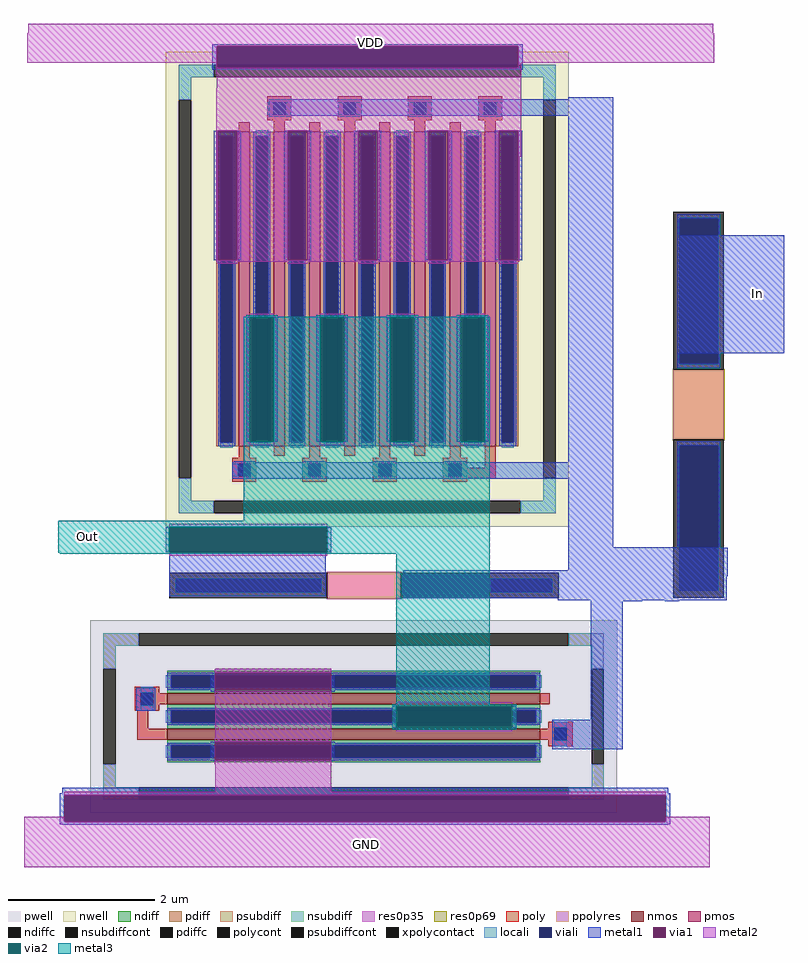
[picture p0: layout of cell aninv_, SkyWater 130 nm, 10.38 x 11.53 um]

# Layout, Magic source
magic
tech sky130A
magscale 1 2
<< poly >>
rect 1196 371 1226 429
rect 1143 367 1226 371
rect 1127 341 1226 367
rect 247 -342 277 -281
rect 247 -372 318 -342
<< viali >>
rect 464 1464 1288 1522
rect 47 -597 1691 -525
<< metal1 >>
rect 452 1522 1300 1528
rect 452 1464 464 1522
rect 1288 1464 1300 1522
rect 452 1458 1300 1464
rect 1425 1378 1548 1383
rect 606 1332 1548 1378
rect 456 938 466 1292
rect 520 938 530 1292
rect 648 938 658 1292
rect 712 938 722 1292
rect 840 938 850 1292
rect 904 938 914 1292
rect 1032 938 1042 1292
rect 1096 938 1106 1292
rect 1224 938 1234 1292
rect 1288 938 1298 1292
rect 544 442 554 782
rect 620 442 630 782
rect 736 442 746 782
rect 812 442 822 782
rect 928 442 938 782
rect 1004 442 1014 782
rect 1120 442 1130 782
rect 1196 442 1206 782
rect 1425 386 1548 1332
rect 1722 684 2014 1006
rect 506 340 1548 386
rect 324 140 334 208
rect 766 140 776 208
rect 1425 153 1548 340
rect 1425 152 1820 153
rect 334 20 762 140
rect 1425 90 1860 152
rect 974 74 1860 90
rect 974 14 1858 74
rect 1396 8 1858 14
rect 1486 6 1626 8
rect 1688 6 1728 8
rect 244 -294 296 -230
rect 448 -242 458 -190
rect 776 -242 786 -190
rect 944 -340 954 -280
rect 1272 -340 1282 -280
rect 1486 -318 1574 6
rect 448 -430 458 -378
rect 776 -430 786 -378
rect 1380 -398 1574 -318
rect 41 -519 1697 -504
rect 35 -525 1703 -519
rect 35 -597 47 -525
rect 1691 -597 1703 -525
rect 35 -603 1703 -597
rect 41 -605 1697 -603
<< via1 >>
rect 464 1464 1288 1522
rect 466 938 520 1292
rect 658 938 712 1292
rect 850 938 904 1292
rect 1042 938 1096 1292
rect 1234 938 1288 1292
rect 554 442 620 782
rect 746 442 812 782
rect 938 442 1004 782
rect 1130 442 1196 782
rect 334 140 766 208
rect 458 -242 776 -190
rect 954 -340 1272 -280
rect 458 -430 776 -378
rect 47 -597 1691 -525
<< metal2 >>
rect -52 1558 1820 1584
rect -54 1522 1824 1558
rect -54 1478 464 1522
rect 462 1464 464 1478
rect 1288 1478 1824 1522
rect 1288 1464 1296 1478
rect 462 1446 1296 1464
rect 464 1408 1296 1446
rect 462 1292 1296 1408
rect 462 938 466 1292
rect 520 938 658 1292
rect 712 938 850 1292
rect 904 938 1042 1292
rect 1096 938 1234 1292
rect 1288 1220 1296 1292
rect 1288 938 1290 1220
rect 462 934 1290 938
rect 466 928 520 934
rect 658 928 712 934
rect 850 928 904 934
rect 1042 928 1096 934
rect 1234 928 1288 934
rect 554 782 620 792
rect 554 432 620 442
rect 746 782 812 792
rect 746 432 812 442
rect 938 782 1004 792
rect 938 432 1004 442
rect 1130 782 1196 792
rect 1130 432 1196 442
rect 334 208 766 218
rect 334 130 766 140
rect 460 -180 776 -178
rect 458 -190 776 -180
rect 458 -252 776 -242
rect 460 -368 776 -252
rect 954 -280 1272 -270
rect 954 -350 1272 -340
rect 458 -378 776 -368
rect 458 -440 776 -430
rect 460 -515 776 -440
rect 47 -525 1691 -515
rect -63 -597 47 -583
rect 1691 -597 1811 -583
rect -63 -721 1811 -597
<< via2 >>
rect 554 442 620 782
rect 746 442 812 782
rect 938 442 1004 782
rect 1130 442 1196 782
rect 334 140 766 208
rect 954 -340 1272 -280
<< metal3 >>
rect 544 784 630 787
rect 736 784 822 787
rect 928 784 1014 787
rect 1120 784 1206 787
rect 538 782 1210 784
rect 538 442 554 782
rect 620 442 746 782
rect 812 442 938 782
rect 1004 442 1130 782
rect 1196 442 1210 782
rect 538 226 1210 442
rect 30 208 1210 226
rect 30 140 334 208
rect 766 140 1210 208
rect 30 138 1210 140
rect 35 136 1210 138
rect 324 135 776 136
rect 954 -275 1210 136
rect 944 -280 1282 -275
rect 944 -340 954 -280
rect 1272 -340 1282 -280
rect 944 -345 1282 -340
rect 954 -346 1210 -345
use sky130_fd_pr__res_high_po_0p69_7JPRER  sky130_fd_pr__res_high_po_0p69_7JPRER_0
transform 1 0 1781 0 1 543
box -71 -527 71 527
use sky130_fd_pr__pfet_01v8_396TWK  sky130_fd_pr__pfet_01v8_396TWK_0
transform 1 0 875 0 1 859
box -551 -649 551 649
use sky130_fd_pr__nfet_01v8_XG2GE7  sky130_fd_pr__nfet_01v8_XG2GE7_0
transform 0 1 838 -1 0 -309
box -263 -720 263 720
use sky130_fd_pr__res_high_po_0p35_4HD3S6  sky130_fd_pr__res_high_po_0p35_4HD3S6_0
transform 0 1 866 -1 0 49
box -37 -532 37 532
<< labels >>
rlabel metal2 -63 -721 1811 -597 1 GND
port 2 n
rlabel metal3 38 142 182 222 1 Out
port 6 n
rlabel metal2 -52 1480 1818 1584 1 VDD
port 1 n
rlabel metal1 1872 692 2010 1002 1 In
port 5 n
<< end >>

# cell sky130_fd_pr__res_high_po_0p69_7JPRER: kit device sky130_fd_pr__res_high_po_0p69, w 0.690 l 0.95 m 1 nx 1 wmin 0.690 lmin 0.50 rho 319.8 val 495.921 dummy 0 dw 0.0 term 19.188 sterm 0.0 caplen 0 guard 0 glc 0 grc 0 gtc 0 gbc 0 compatible {sky130_fd_pr__res_high_po_0p35 sky130_fd_pr__res_high_po_0p69 sky130_fd_pr__res_high_po_1p41 sky130_fd_pr__res_high_po_2p85 sky130_fd_pr__res_high_po_5p73} full_metal 0 wmax 0.690 vias 1 viagb 0 viagt 0 viagl 0 viagr 0

# cell sky130_fd_pr__pfet_01v8_396TWK: kit device sky130_fd_pr__pfet_01v8, w 4.3 l 0.15 m 1 nf 8 diffcov 100 polycov 100 guard 1 glc 1 grc 1 gtc 1 gbc 1 tbcov 100 rlcov 100 topc 1 botc 1 poverlap 0 doverlap 1 lmin 0.15 wmin 0.42 compatible {sky130_fd_pr__pfet_01v8 sky130_fd_pr__pfet_01v8_lvt sky130_fd_pr__pfet_01v8_hvt sky130_fd_pr__pfet_g5v0d10v5} full_metal 1 viagl 0 viagr 0 viagt 0 viagb 0 viagate 100 viadrn 100 viasrc 100

# cell sky130_fd_pr__nfet_01v8_XG2GE7: kit device sky130_fd_pr__nfet_01v8, w 5.1 l 0.150 m 1 nf 2 diffcov 100 polycov 100 guard 1 glc 1 grc 1 gtc 1 gbc 1 tbcov 100 rlcov 100 topc 1 botc 1 poverlap 0 doverlap 1 lmin 0.15 wmin 0.42 compatible {sky130_fd_pr__nfet_01v8 sky130_fd_pr__nfet_01v8_lvt sky130_fd_bs_flash__special_sonosfet_star sky130_fd_pr__nfet_g5v0d10v5 sky130_fd_pr__nfet_05v0_nvt} full_metal 1 viasrc 100 viadrn 100 viagate 100 viagb 0 viagr 0 viagl 0 viagt 0

# cell sky130_fd_pr__res_high_po_0p35_4HD3S6: kit device sky130_fd_pr__res_high_po_0p35, w 0.350 l 1 m 1 nx 1 wmin 0.350 lmin 0.50 rho 319.8 val 1.023k dummy 0 dw 0.0 term 19.188 sterm 0.0 caplen 0 guard 0 glc 0 grc 0 gtc 0 gbc 0 compatible {sky130_fd_pr__res_high_po_0p35 sky130_fd_pr__res_high_po_0p69 sky130_fd_pr__res_high_po_1p41 sky130_fd_pr__res_high_po_2p85 sky130_fd_pr__res_high_po_5p73} full_metal 0 wmax 0.350 vias 1 n_guard 0 hv_guard 0 viagb 0 viagt 0 viagl 0 viagr 0
